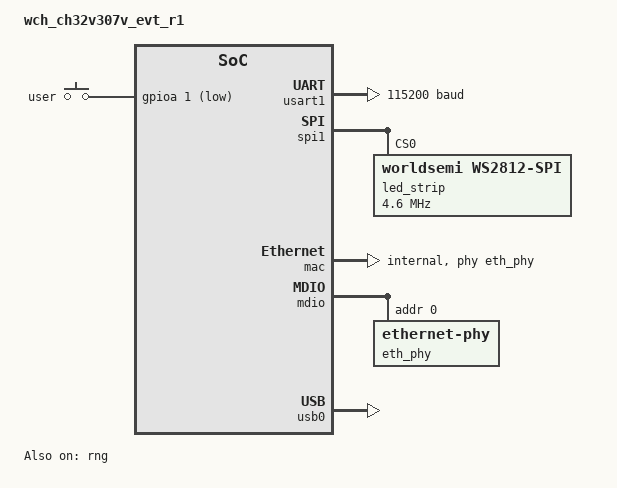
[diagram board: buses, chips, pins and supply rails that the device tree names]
/*
 * Copyright (c) 2025 Thomas Boje
 * Copyright (c) 2026 Pavel Löbl
 * Copyright (c) 2026 James Bennion-Pedley
 * SPDX-License-Identifier: Apache-2.0
 */

#include <wch/ch32v307/ch32v307vc.dtsi>
#include <zephyr/dt-bindings/gpio/gpio.h>
#include <zephyr/dt-bindings/input/input-event-codes.h>
#include "ch32v307v_evt_r1-pinctrl.dtsi"

// TODO remove before merging
#include <zephyr/dt-bindings/led/led.h>

/ {
	model = "wch_ch32v307v_evt_r1";
	compatible = "wch,ch32v307";

	chosen {
		zephyr,sram = &sram0;
		zephyr,flash = &flash0;
		zephyr,console = &usart1;
		zephyr,shell-uart = &usart1;
	};

	buttons {
		compatible = "gpio-keys";

		user_button0: s2 {
			label = "user";
			gpios = <&gpioa 1 (GPIO_ACTIVE_LOW | GPIO_PULL_UP)>;
			zephyr,code = <INPUT_KEY_0>;
		};
	};

	aliases {
		sw0 = &user_button0;
	};
};

&clk_hse {
	status = "okay";
};

&pll {
	clocks = <&clk_hse>;
	status = "okay";
};

&rcc {
	clocks = <&pll>;
};

&gpioa {
	status = "okay";
};

&gpiob {
	status = "okay";
};

&gpioc {
	status = "okay";
};

&gpiod {
	status = "okay";
};

&gpioe {
	status = "okay";
};

&usart1 {
	status = "okay";
	current-speed = <115200>;
	pinctrl-0 = <&usart1_default>;
	pinctrl-names = "default";
};

// TODO remove this node before merging
&spi1 {
	status = "okay";
	pinctrl-0 = <&spi1_default>;
	pinctrl-names = "default";

	led_strip: ws2812@0 {
		compatible = "worldsemi,ws2812-spi";
		status = "okay";
		reg = <0>;
		spi-cpha;
		spi-one-frame = <0xf0>;  /* 1100ns HIGH */
		spi-zero-frame = <0x80>; /* 460ns HIGH */
		spi-max-frequency = <4600000>;
		chain-length = <1>;
		color-mapping = <LED_COLOR_ID_GREEN LED_COLOR_ID_RED LED_COLOR_ID_BLUE>;
	};
};

&rng {
	status = "okay";
};

&mac {
	status = "okay";
	pinctrl-0 = <&mac_default>;
	pinctrl-names = "default";
	phy-connection-type = "internal";
	phy-handle = <&eth_phy>;
};

&mdio {
	status = "okay";
	pinctrl-0 = <&mdio_default>;
	pinctrl-names = "default";

	eth_phy: ethernet-phy@0 {
		compatible = "ethernet-phy";
		reg = <0x00>;
	};
};

zephyr_udc0: &usb0 {
	status = "okay";

	cdc_acm_uart0: cdc_acm_uart0 {
		compatible = "zephyr,cdc-acm-uart";
		label = "Zephyr USB CDC-ACM";
	};
};
